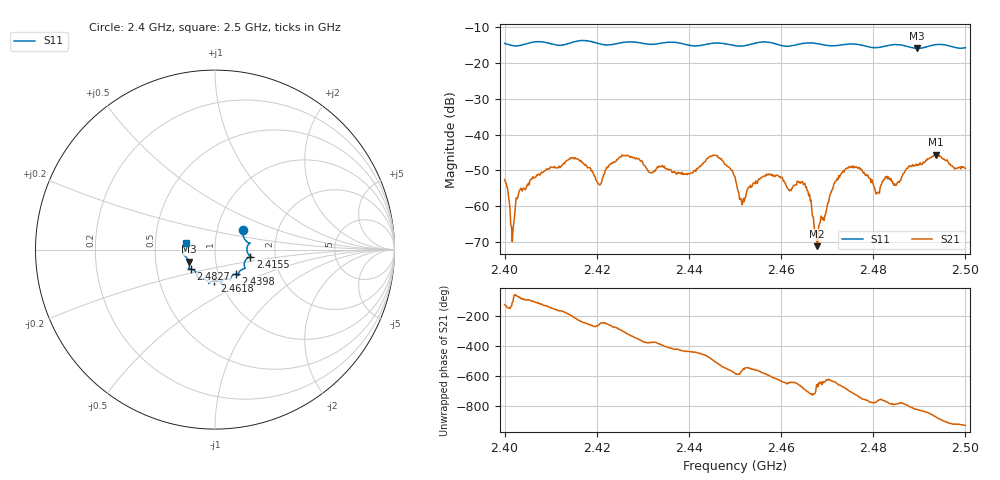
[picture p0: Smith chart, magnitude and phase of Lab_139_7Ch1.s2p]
# Hz S RI R 50
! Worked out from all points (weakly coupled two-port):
!   601 points, 2.4 GHz to 2.5 GHz, reference 50 ohm
!   highest |S21| = -45.60 dB at 2.4937 GHz (marker M1); lowest = -71.2 dB at 2.4678 GHz (marker M2)
!   lowest |S11| = -15.9 dB at 2.4895 GHz (marker M3), VSWR 1.38, Z = 37 - j5.05 ohm
!   |S11| at or under -10 dB: start of sweep to end of sweep
!   S12 and S22 are empty: the file has one direction only
!   S11 on the Smith chart (normalised r, x): 2.4 GHz: 1.33, +0.29; 2.4155 GHz: 1.49, -0.12; 2.4398 GHz: 1.21, -0.34; 2.4618 GHz: 0.94, -0.33; 2.4827 GHz: 0.75, -0.17; 2.5 GHz: 0.72, +0.06
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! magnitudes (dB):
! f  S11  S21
! 2.4 GHz  -14.5  -52.5
! 2.4018 GHz  -15.1  -66.3
! 2.4037 GHz  -15.0  -55.2
! 2.4155 GHz  -13.9  -46.8
! 2.4167 GHz  -13.7  -47.4
! 2.4205 GHz  -14.6  -53.8
! 2.4257 GHz  -14.2  -45.8
! 2.4333 GHz  -14.6  -49.2
! 2.4398 GHz  -15.0  -50.9
! 2.4457 GHz  -14.4  -45.8
! 2.45 GHz  -15.1  -51.8
! 2.4515 GHz  -15.3  -59.6
! 2.457 GHz  -14.1  -51.2
! 2.4618 GHz  -15.3  -55.7
! 2.4667 GHz  -14.4  -61.1
! 2.4678 GHz  -14.6  -71.2
! 2.4738 GHz  -14.8  -49.8
! 2.4827 GHz  -15.2  -51.8
! 2.4833 GHz  -15.0  -51.8
! 2.4895 GHz  -15.9  -48.5
! 2.4937 GHz  -14.8  -45.6
! 2.5 GHz  -15.7  -49.5
